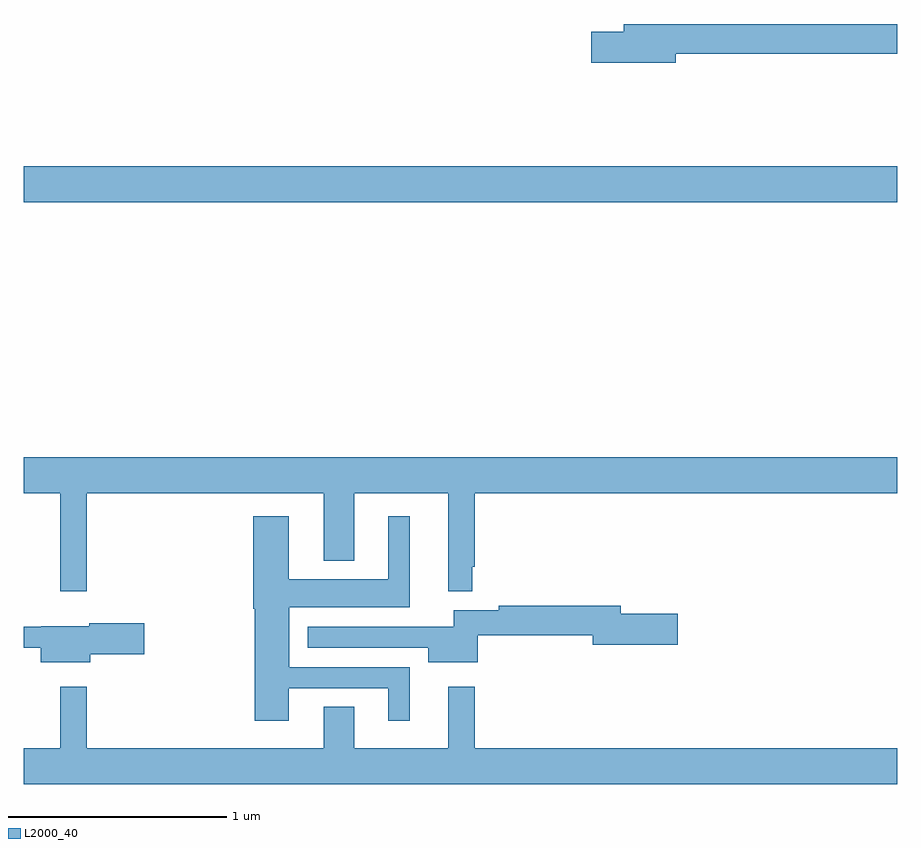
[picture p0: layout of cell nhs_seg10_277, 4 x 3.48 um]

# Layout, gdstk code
import gdstk
lib = gdstk.Library(unit=1e-6, precision=1e-09)
def R(c, l, rs):  # rectangles x0, y0, x1, y1
    for r in rs: c.add(gdstk.rectangle(r[:2], r[2:], *l))
def P(c, l, *ps):  # polygons
    for p in ps: c.add(gdstk.Polygon(p, *l))
L2000_40 = (2000, 40)

nhs_seg10_277 = lib.new_cell('nhs_seg10_277')
R(nhs_seg10_277, L2000_40, [(123,1325.624,127,1325.788)])
P(nhs_seg10_277, L2000_40, [(125.986,1326.304),(127,1326.304),(127,1326.44),(125.747,1326.44),(125.747,1326.404),(125.598,1326.404),(125.598,1326.262),(125.986,1326.262)],
  [(123.289,1324.292),(124.373,1324.292),(124.373,1323.983),(124.513,1323.983),(124.513,1324.292),(124.943,1324.292),(124.943,1323.843),(125.054,1323.843),(125.054,1323.955),(125.065,1323.955),(125.065,1324.292),(127,1324.292),(127,1324.456),(123,1324.456),(123,1324.292),(123.167,1324.292),(123.167,1323.843),(123.289,1323.843)],
  [(124.213,1323.399),(124.67,1323.399),(124.67,1323.249),(124.768,1323.249),(124.768,1323.495),(124.216,1323.495),(124.216,1323.77),(124.768,1323.77),(124.768,1324.186),(124.67,1324.186),(124.67,1323.898),(124.213,1323.898),(124.213,1324.186),(124.052,1324.186),(124.052,1323.762),(124.058,1323.762),(124.058,1323.249),(124.213,1323.249)],
  [(125.08,1323.64),(125.606,1323.64),(125.606,1323.598),(125.995,1323.598),(125.995,1323.74),(125.734,1323.74),(125.734,1323.776),(125.176,1323.776),(125.176,1323.756),(124.97,1323.756),(124.97,1323.681),(124.301,1323.681),(124.301,1323.585),(124.853,1323.585),(124.853,1323.518),(125.08,1323.518)],
  [(123.304,1323.553),(123.553,1323.553),(123.553,1323.695),(123.3,1323.695),(123.3,1323.682),(123.081,1323.682),(123.081,1323.681),(123,1323.681),(123,1323.585),(123.077,1323.585),(123.077,1323.518),(123.304,1323.518)],
  [(127,1323.124),(125.065,1323.124),(125.065,1323.406),(124.943,1323.406),(124.943,1323.124),(124.513,1323.124),(124.513,1323.314),(124.373,1323.314),(124.373,1323.124),(123.289,1323.124),(123.289,1323.406),(123.167,1323.406),(123.167,1323.124),(123,1323.124),(123,1322.96),(127,1322.96)])

lib.write_gds('nhs_seg10_277.gds')
